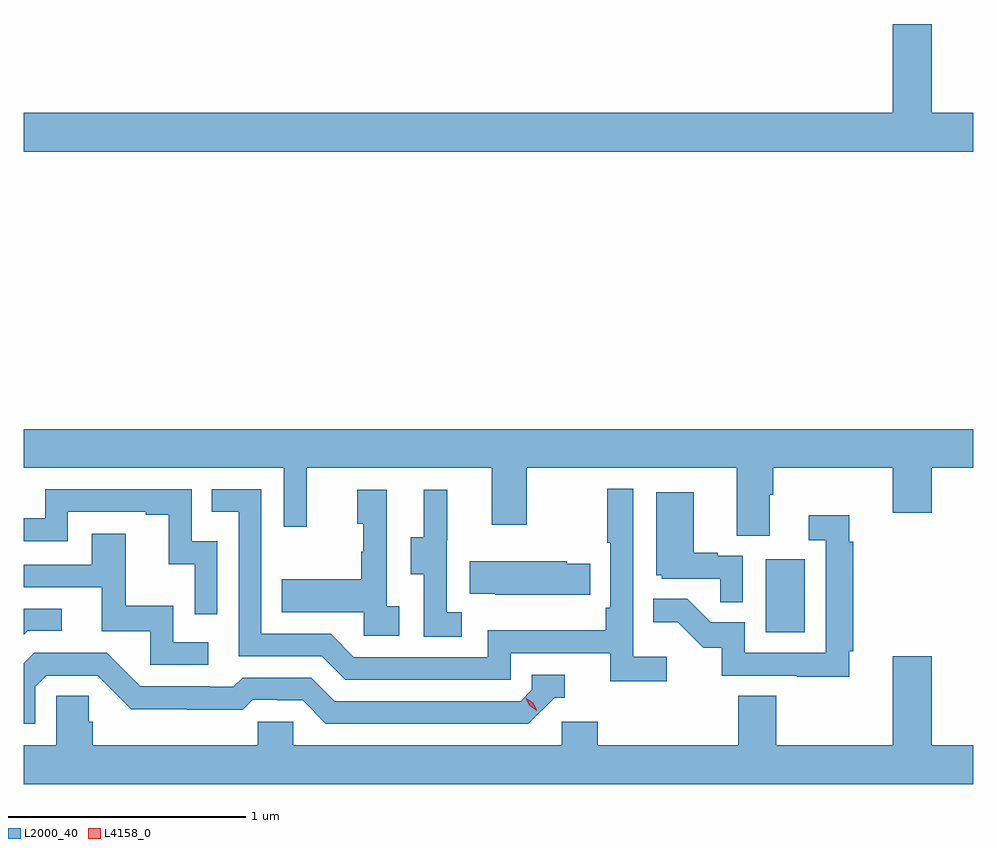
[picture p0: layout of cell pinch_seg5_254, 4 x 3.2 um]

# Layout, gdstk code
import gdstk
lib = gdstk.Library(unit=1e-6, precision=1e-09)
def R(c, l, rs):  # rectangles x0, y0, x1, y1
    for r in rs: c.add(gdstk.rectangle(r[:2], r[2:], *l))
def P(c, l, *ps):  # polygons
    for p in ps: c.add(gdstk.Polygon(p, *l))
L2000_40 = (2000, 40)
L4158_0 = (4158, 0)

pinch_seg5_254 = lib.new_cell('pinch_seg5_254')
R(pinch_seg5_254, L2000_40, [(931.706,906.684,931.87,906.991)])
P(pinch_seg5_254, L2000_40, [(932.579,908.872),(932.404,908.872),(932.404,909.247),(932.24,909.247),(932.24,908.872),(928.579,908.872),(928.579,908.708),(932.579,908.708)],
  [(931.723,907.264),(931.736,907.264),(931.736,907.376),(932.24,907.376),(932.24,907.188),(932.404,907.188),(932.404,907.376),(932.579,907.376),(932.579,907.54),(928.579,907.54),(928.579,907.376),(929.673,907.376),(929.673,907.128),(929.771,907.128),(929.771,907.376),(930.551,907.376),(930.551,907.137),(930.699,907.137),(930.699,907.376),(931.583,907.376),(931.583,907.09),(931.723,907.09)],
  [(931.288,906.58),(931.146,906.58),(931.146,907.288),(931.038,907.288),(931.038,907.06),(931.05,907.06),(931.05,906.787),(931.03,906.787),(931.03,906.691),(930.534,906.691),(930.534,906.579),(929.97,906.579),(929.871,906.678),(929.58,906.678),(929.58,907.287),(929.371,907.287),(929.371,907.191),(929.484,907.191),(929.484,906.582),(929.834,906.582),(929.933,906.483),(930.63,906.483),(930.63,906.594),(931.049,906.594),(931.049,906.478),(931.288,906.478)],
  [(929.394,907.068),(929.286,907.068),(929.286,907.287),(928.668,907.287),(928.668,907.164),(928.579,907.164),(928.579,907.068),(928.764,907.068),(928.764,907.191),(929.093,907.191),(929.093,907.179),(929.189,907.179),(929.189,906.971),(929.298,906.971),(929.298,906.759),(929.394,906.759)],
  [(930.16,906.794),(930.108,906.794),(930.108,907.285),(929.984,907.285),(929.984,907.14),(930.01,907.14),(930.01,907.022),(930,907.022),(930,906.907),(929.665,906.907),(929.665,906.767),(930.012,906.767),(930.012,906.669),(930.16,906.669)],
  [(930.424,906.767),(930.36,906.767),(930.36,907.071),(930.362,907.071),(930.362,907.285),(930.263,907.285),(930.263,907.083),(930.209,907.083),(930.209,906.928),(930.264,906.928),(930.264,906.664),(930.424,906.664)],
  [(931.608,907.005),(931.502,907.005),(931.502,907.018),(931.402,907.018),(931.402,907.273),(931.244,907.273),(931.244,906.924),(931.266,906.924),(931.266,906.909),(931.513,906.909),(931.513,906.811),(931.608,906.811)],
  [(932.057,906.604),(932.075,906.604),(932.075,907.064),(932.057,907.064),(932.057,907.177),(931.887,907.177),(931.887,907.071),(931.959,907.071),(931.959,906.597),(931.617,906.597),(931.617,906.726),(931.473,906.726),(931.375,906.824),(931.231,906.824),(931.231,906.725),(931.335,906.725),(931.442,906.618),(931.519,906.618),(931.519,906.501),(931.837,906.501),(931.837,906.496),(932.057,906.496)],
  [(929.356,906.642),(929.208,906.642),(929.208,906.796),(929.009,906.796),(929.009,907.099),(928.865,907.099),(928.865,906.969),(928.579,906.969),(928.579,906.873),(928.907,906.873),(928.907,906.687),(929.112,906.687),(929.112,906.546),(929.356,906.546)],
  [(930.965,906.972),(930.867,906.972),(930.867,906.982),(930.457,906.982),(930.457,906.845),(930.565,906.845),(930.565,906.842),(930.965,906.842)],
  [(928.596,906.69),(928.738,906.69),(928.738,906.783),(928.579,906.783),(928.579,906.673)],
  [(928.626,906.453),(928.674,906.501),(928.89,906.501),(929.032,906.359),(929.268,906.359),(929.268,906.357),(929.501,906.357),(929.543,906.399),(929.646,906.399),(929.646,906.396),(929.753,906.396),(929.852,906.297),(930.705,906.297),(930.816,906.408),(930.859,906.408),(930.859,906.504),(930.72,906.504),(930.72,906.441),(930.672,906.393),(929.889,906.393),(929.79,906.492),(929.501,906.492),(929.462,906.453),(929.363,906.453),(929.363,906.456),(929.07,906.456),(928.929,906.597),(928.623,906.597),(928.579,906.553),(928.579,906.297),(928.626,906.297)],
  [(928.853,906.306),(928.853,906.416),(928.716,906.416),(928.716,906.208),(928.579,906.208),(928.579,906.044),(932.579,906.044),(932.579,906.208),(932.404,906.208),(932.404,906.583),(932.24,906.583),(932.24,906.208),(931.749,906.208),(931.749,906.416),(931.589,906.416),(931.589,906.208),(930.998,906.208),(930.998,906.306),(930.846,906.306),(930.846,906.208),(929.715,906.208),(929.715,906.306),(929.565,906.306),(929.565,906.208),(928.868,906.208),(928.868,906.306)])
P(pinch_seg5_254, L4158_0, [(930.741,906.353),(930.71,906.373),(930.694,906.405),(930.694,906.406),(930.695,906.406),(930.725,906.386),(930.741,906.354),(930.741,906.353)])

lib.write_gds('pinch_seg5_254.gds')
